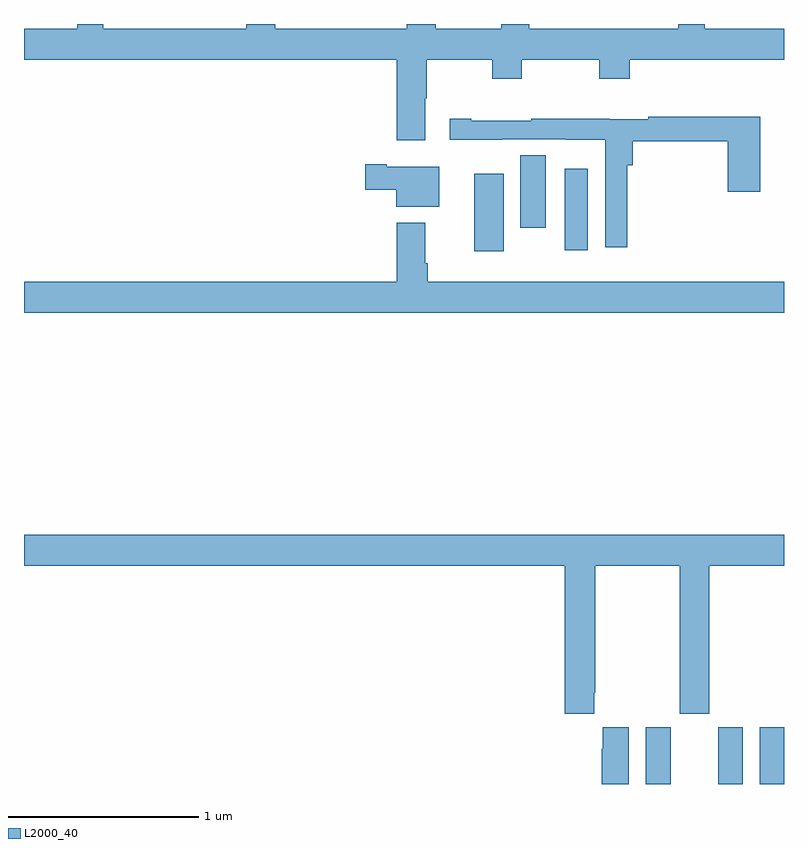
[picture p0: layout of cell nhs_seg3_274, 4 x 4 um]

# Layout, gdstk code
import gdstk
lib = gdstk.Library(unit=1e-6, precision=1e-09)
def R(c, l, rs):  # rectangles x0, y0, x1, y1
    for r in rs: c.add(gdstk.rectangle(r[:2], r[2:], *l))
def P(c, l, *ps):  # polygons
    for p in ps: c.add(gdstk.Polygon(p, *l))
L2000_40 = (2000, 40)

nhs_seg3_274 = lib.new_cell('nhs_seg3_274')
R(nhs_seg3_274, L2000_40, [(126.272,734.4,126.403,734.698), (126.653,734.4,126.784,734.698), (126.872,734.4,127,734.698), (125.369,737.205,125.524,737.611), (125.846,737.208,125.968,737.638), (125.612,737.328,125.746,737.708)])
P(nhs_seg3_274, L2000_40, [(124.961,737.787),(125.113,737.787),(125.113,738.008),(125.121,738.008),(125.121,738.212),(125.464,738.212),(125.464,738.113),(125.619,738.113),(125.619,738.212),(126.028,738.212),(126.028,738.113),(126.188,738.113),(126.188,738.212),(127,738.212),(127,738.376),(126.583,738.376),(126.583,738.4),(126.443,738.4),(126.443,738.376),(125.659,738.376),(125.659,738.4),(125.512,738.4),(125.512,738.376),(125.167,738.376),(125.167,738.4),(125.015,738.4),(125.015,738.376),(124.322,738.376),(124.322,738.4),(124.169,738.4),(124.169,738.376),(123.417,738.376),(123.417,738.4),(123.279,738.4),(123.279,738.376),(123,738.376),(123,738.212),(124.961,738.212)],
  [(126.176,737.657),(126.203,737.657),(126.203,737.782),(126.704,737.782),(126.704,737.517),(126.874,737.517),(126.874,737.911),(126.286,737.911),(126.286,737.9),(126.084,737.9),(126.084,737.902),(125.669,737.902),(125.669,737.892),(125.353,737.892),(125.353,737.902),(125.241,737.902),(125.241,737.792),(125.516,737.792),(125.516,737.793),(125.85,737.793),(125.85,737.792),(126.06,737.792),(126.06,737.226),(126.176,737.226)],
  [(125.185,737.65),(124.909,737.65),(124.909,737.663),(124.797,737.663),(124.797,737.528),(124.958,737.528),(124.958,737.438),(125.185,737.438)],
  [(127,737.044),(125.126,737.044),(125.126,737.14),(125.113,737.14),(125.113,737.353),(124.961,737.353),(124.961,737.044),(123,737.044),(123,736.88),(127,736.88)],
  [(126.001,734.881),(126.006,734.881),(126.006,735.548),(126.451,735.548),(126.451,734.769),(126.606,734.769),(126.606,735.548),(127,735.548),(127,735.712),(123,735.712),(123,735.548),(125.846,735.548),(125.846,734.769),(126.001,734.769)],
  [(126.184,734.698),(126.047,734.698),(126.047,734.585),(126.041,734.585),(126.041,734.4),(126.184,734.4)])

lib.write_gds('nhs_seg3_274.gds')
